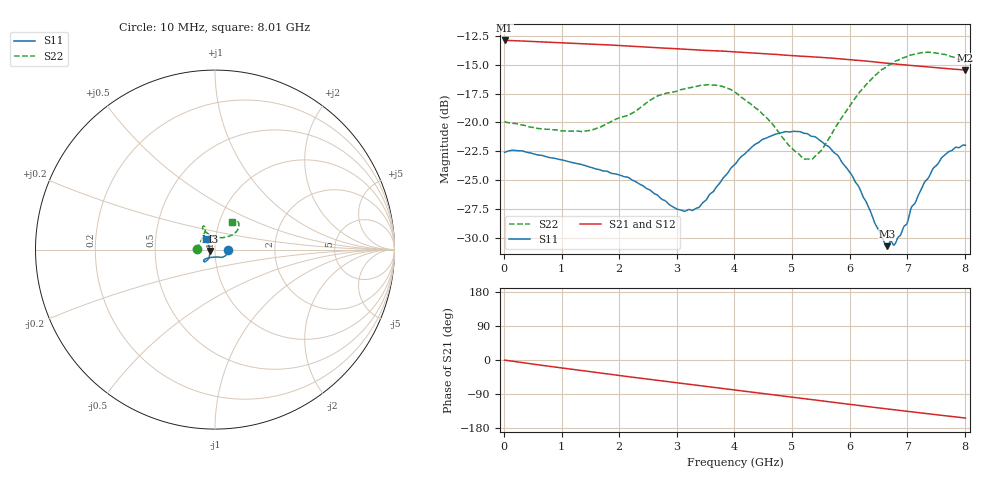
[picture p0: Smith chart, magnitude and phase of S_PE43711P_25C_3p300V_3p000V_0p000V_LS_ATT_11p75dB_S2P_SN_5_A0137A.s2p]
! Device ID: PE43711P
! File Path: z:\PE43711P\CHAR_NOM_04282014\AMB\3p300\LS_ATT_11p75dB\PE43711P_AMB_3p300V_3p000V_0p000V_LS_ATT_11p75dB_S2P_SN_5_A0137A.s2p
! Serial: 5
! Lot: A0137A
! Temp: 25C
! VDD: 3.300
! VSS: 0.000
! Control_Hi: 3.000
! Control_Lo: 0.000
! Attenuation Step: 11.75dB
! Port 1: RF1
! Port 2: RF2
! ThroughPath:1-2
! IDD: 0.0001281253
! ISS: 2.49e-008
#  Hz  S  RI  R  50
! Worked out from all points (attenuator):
!   801 points, 10 MHz to 8.01 GHz, reference 50 ohm
!   highest |S21| = -12.89 dB at 10 MHz (marker M1); lowest = -15.5 dB at 8.01 GHz (marker M2)
!   lowest |S11| = -30.7 dB at 6.65 GHz (marker M3), VSWR 1.06, Z = 47.3 - j0.688 ohm
!   |S11| at or under -10 dB: start of sweep to end of sweep
!   |S22| runs from -23.2 to -13.9 dB; largest |S21 - S12| = 0.00046
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1e7  0.0742 -9.18e-05  0.2266 -0.00109  0.2268 -0.0012  -0.101 0.000832
3.1e8  0.0744 -0.0118  0.2239 -0.0268  0.224 -0.0268  -0.0971 0.00922
1.35e9  0.054 -0.0373  0.194 -0.1029  0.1941 -0.1029  -0.0779 0.0477
2.15e9  0.0381 -0.0436  0.1547 -0.1483  0.1548 -0.1484  -0.0604 0.0888
2.68e9  0.0236 -0.0418  0.124 -0.1701  0.1241 -0.1702  -0.0561 0.1181
3.01e9  0.00965 -0.041  0.1035 -0.1811  0.1036 -0.1812  -0.0569 0.1245
3.3e9  -0.00497 -0.0417  0.0847 -0.1883  0.0848 -0.1884  -0.0599 0.1298
3.69e9  -0.0279 -0.0447  0.0594 -0.1954  0.0593 -0.1954  -0.0665 0.1287
4.01e9  -0.0449 -0.0484  0.0376 -0.1987  0.0375 -0.1989  -0.0681 0.1168
4.34e9  -0.0583 -0.0545  0.0155 -0.1992  0.0154 -0.1994  -0.0568 0.1024
4.69e9  -0.0636 -0.0616  -0.00759 -0.1971  -0.00768 -0.1971  -0.0393 0.0878
5.17e9  -0.0601 -0.0678  -0.0376 -0.19  -0.0378 -0.19  -0.000431 0.0708
5.35e9  -0.0565 -0.0662  -0.0486 -0.1862  -0.0486 -0.1864  0.019 0.0667
5.65e9  -0.0472 -0.0622  -0.0662 -0.1784  -0.0662 -0.1785  0.0528 0.0678
6.01e9  -0.0361 -0.0487  -0.0854 -0.1664  -0.0857 -0.1664  0.0889 0.0789
6.65e9  -0.0282 -0.00728  -0.1138 -0.1401  -0.114 -0.1403  0.1295 0.1181
6.68e9  -0.0294 -0.00488  -0.115 -0.139  -0.115 -0.1391  0.1302 0.1207
6.78e9  -0.0296 0.00128  -0.1187 -0.1345  -0.1187 -0.1346  0.1326 0.1272
6.87e9  -0.0313 0.00769  -0.1218 -0.1304  -0.1218 -0.1305  0.1333 0.1322
7.46e9  -0.0444 0.0456  -0.1393 -0.1027  -0.1393 -0.1028  0.1192 0.1612
7.7e9  -0.0495 0.0552  -0.1446 -0.0912  -0.1447 -0.0911  0.1064 0.1643
8.01e9  -0.0509 0.0613  -0.1505 -0.0761  -0.1508 -0.0757  0.0926 0.1557
